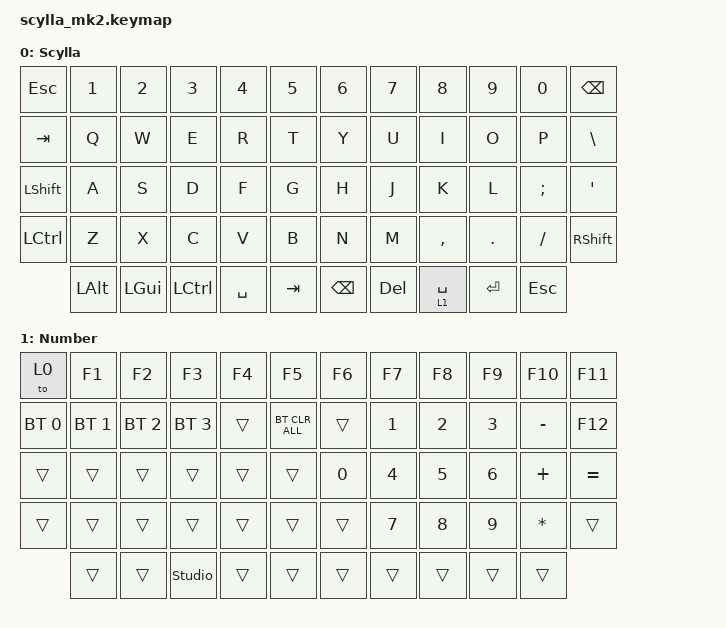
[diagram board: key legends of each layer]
/*
 * Copyright (c) 2020 The ZMK Contributors
 * Scylla MK2
 * SPDX-License-Identifier: MIT
 */

#include <behaviors.dtsi>
#include <dt-bindings/zmk/bt.h>
#include <dt-bindings/zmk/keys.h>

#define DEF 0
#define NAV 1
#define NUM 2

/ {
    combos {
        compatible = "zmk,combos";

        // Thumb combos
        // Brackets - Ngoặc vuông []
        // Braces - Ngoặc nhọn {}
        // Parentheses - Ngoặc tròn ()
        // Special chars
        // Word navigation - Windows (Layer 0)
        // Word navigation - Mac (Layer 1)
        // Arrow keys

        tru {
            bindings = <&kp MINUS>;
            key-positions = <6 7>;
        };
    };

    keymap {
        compatible = "zmk,keymap";

        // Thumb: 3 phim vong tren  |  2 phim moi hang duoi
        // trai: hang tren trai->phai = 50 51 52 | hang duoi = 49 48
        // phai: hang tren trai->phai = 53 54 55 | hang duoi = 57 56

        scylla_mk2_layer {
            label = "Scylla";
            bindings = <
&kp ESC         &kp N1    &kp N2    &kp N3     &kp N4     &kp N5   &kp N6    &kp N7   &kp N8       &kp N9     &kp N0    &kp BSPC
&kp TAB         &kp Q     &kp W     &kp E      &kp R      &kp T    &kp Y     &kp U    &kp I        &kp O      &kp P     &kp BSLH
&kp LEFT_SHIFT  &kp A     &kp S     &kp D      &kp F      &kp G    &kp H     &kp J    &kp K        &kp L      &kp SEMI  &kp SQT
&kp LCTRL       &kp Z     &kp X     &kp C      &kp V      &kp B    &kp N     &kp M    &kp COMMA    &kp DOT    &kp FSLH  &kp RSHFT
                &kp LALT  &kp LGUI  &kp LCTRL  &kp SPACE  &kp TAB  &kp BSPC  &kp DEL  &lt 1 SPACE  &kp ENTER  &kp ESC
            >;
        };

        number_layer {
            label = "Number";
            bindings = <
&to 0         &kp F1        &kp F2        &kp F3          &kp F4  &kp F5          &kp F6  &kp F7        &kp F8        &kp F9        &kp F10    &kp F11
&bt BT_SEL 0  &bt BT_SEL 1  &bt BT_SEL 2  &bt BT_SEL 3    &trans  &bt BT_CLR_ALL  &trans  &kp NUMBER_1  &kp NUMBER_2  &kp NUMBER_3  &kp MINUS  &kp F12
&trans        &trans        &trans        &trans          &trans  &trans          &kp N0  &kp N4        &kp N5        &kp N6        &kp PLUS   &kp EQUAL
&trans        &trans        &trans        &trans          &trans  &trans          &trans  &kp N7        &kp N8        &kp N9        &kp STAR   &trans
              &trans        &trans        &studio_unlock  &trans  &trans          &trans  &trans        &trans        &trans        &trans
            >;
        };
    };
};
